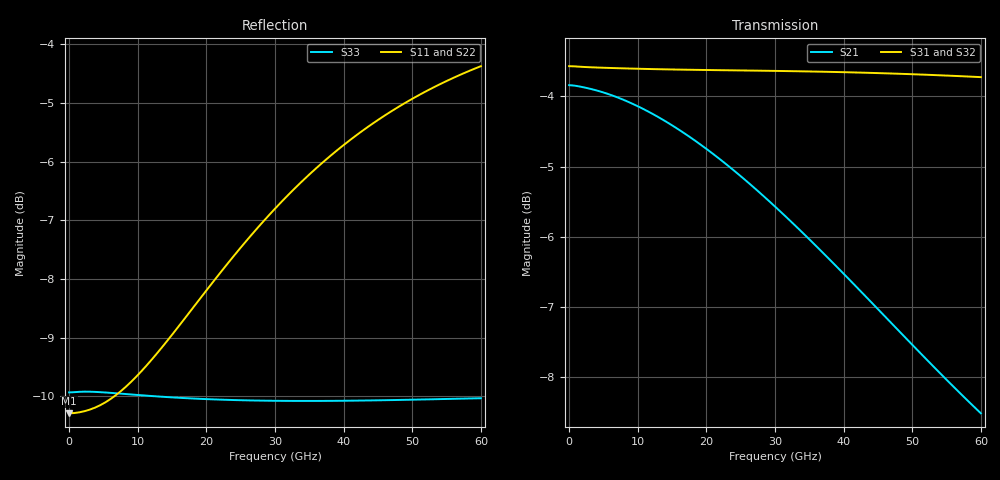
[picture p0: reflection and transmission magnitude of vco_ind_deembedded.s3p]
! Created with skrf 2.1.0 (http://scikit-rf.org).
# GHz S DB R 50.0
!freq dBS11 angS11 dBS12 angS12 dBS13 angS13
! dBS21 angS21 dBS22 angS22 dBS23 angS23
! dBS31 angS31 dBS32 angS32 dBS33 angS33
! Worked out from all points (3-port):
!   82 points, 10 MHz to 60 GHz, reference 50 ohm
!   strongest paths, dB at 10 MHz, 14.25 GHz, 30 GHz, 45 GHz, 60 GHz:
!     S31: -3.6, -3.6, -3.6, -3.7, -3.7
!     S32: -3.7, -3.7, -3.8, -3.9, -3.9
!     S21: -3.8, -4.4, -5.6, -7.0, -8.5
!   lowest |S11| = -10.3 dB at 10 MHz (marker M1), VSWR 1.88, Z = 26.6 + j0.0141 ohm
!   |S11| at or under -10 dB: start of sweep to 6.59 GHz
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0.01  -10.29 180.0  -3.84 -0.0  -3.57 -0.0
      -3.84 -0.0  -10.51 180.0  -3.67 -0.0
      -3.57 -0.0  -3.67 -0.0  -9.93 180.0
3.75  -10.19 163.3  -3.91 -8.1  -3.59 -1.3
      -3.91 -8.1  -10.39 162.5  -3.69 -1.5
      -3.59 -1.3  -3.69 -1.5  -9.92 177.1
7.5  -9.92 147.5  -4.03 -15.8  -3.60 -2.5
     -4.03 -15.8  -10.06 146.1  -3.71 -2.9
     -3.60 -2.5  -3.71 -2.9  -9.95 174.1
15.75  -8.84 117.9  -4.46 -32.3  -3.62 -5.1
       -4.46 -32.3  -8.82 115.8  -3.75 -5.8
       -3.62 -5.1  -3.75 -5.8  -10.02 168.2
23.25  -7.72 96.6  -4.99 -46.8  -3.63 -7.5
       -4.99 -46.8  -7.59 94.5  -3.79 -8.4
       -3.63 -7.5  -3.79 -8.4  -10.06 163.0
30.75  -6.71 79.4  -5.64 -60.8  -3.64 -9.9
       -5.64 -60.8  -6.52 77.5  -3.83 -10.9
       -3.64 -9.9  -3.83 -10.9  -10.08 158.0
37.5  -5.96 66.4  -6.28 -73.3  -3.65 -12.2
      -6.28 -73.3  -5.75 64.6  -3.87 -13.1
      -3.65 -12.2  -3.87 -13.1  -10.08 153.6
44.25  -5.35 55.1  -6.96 -85.6  -3.67 -14.5
       -6.96 -85.6  -5.13 53.4  -3.90 -15.4
       -3.67 -14.5  -3.90 -15.4  -10.07 149.2
52.5  -4.77 43.0  -7.79 -100.7  -3.69 -17.4
      -7.79 -100.7  -4.56 41.4  -3.93 -18.2
      -3.69 -17.4  -3.93 -18.2  -10.05 143.9
60  -4.37 33.1  -8.52 -114.5  -3.72 -20.1
    -8.52 -114.5  -4.19 31.6  -3.95 -20.8
    -3.72 -20.1  -3.95 -20.8  -10.03 139.2
